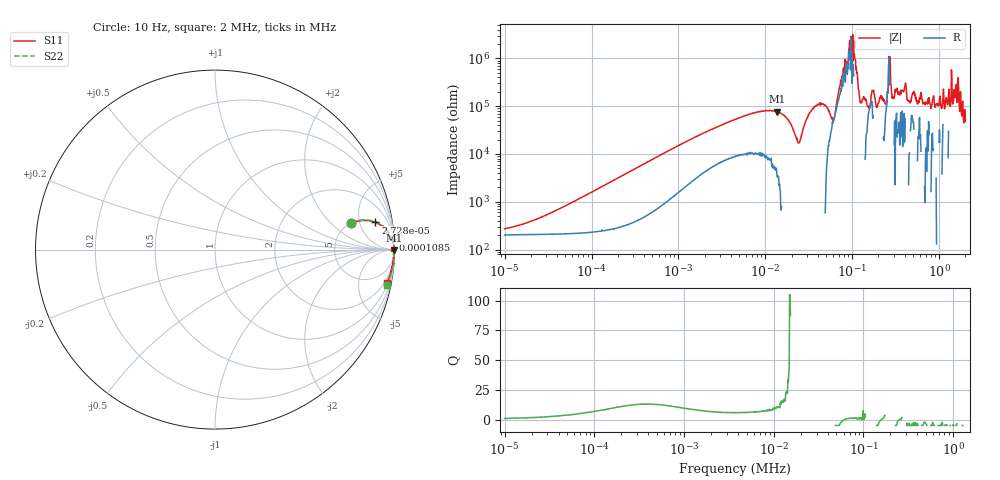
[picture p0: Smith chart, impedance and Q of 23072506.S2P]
!Agilent Technologies,E5061B,MY49204007,A.02.12
!Date: Wed Jul 23 11:00:31 2025
!Data & Calibration Information:
!Freq	S11:SOLT2(ON)	S21:SOLT2(ON)	S12:SOLT2(ON)	S22:SOLT2(ON)
# Hz S dB R 50
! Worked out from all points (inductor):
!   1040 points, 10 Hz to 2 MHz, reference 50 ohm
!   read as one part in series: L = 2.53 H near 39.97 Hz
!   highest Q = 21.8 at 13.73 kHz (marker M1), where L = 885 mH
!   self-resonance near 24.35 kHz
!   S11 on the Smith chart (normalised r, x): 10 Hz: 5.07, +3.65; 27.28 Hz: 5, +9; 108.5 Hz: 6, +34; 2 MHz: 1, -10
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10  -2.25 10.9  -10.97 -31.2  -10.98 -31.0  -2.23 11.0
27.284  -0.86 9.6  -14.63 -55.1  -14.63 -55.0  -0.84 9.8
77.209  -0.16 4.5  -22.01 -75.1  -22.01 -75.0  -0.14 4.6
108.519  -0.09 3.3  -24.80 -78.8  -24.81 -78.7  -0.07 3.4
588.818  -0.01 0.6  -39.15 -84.6  -39.15 -84.5  0.00 0.8
4498.482  -0.01 0.0  -54.53 -80.2  -54.54 -80.2  0.01 0.2
13731.36  -0.01 -0.2  -57.67 -87.6  -57.68 -87.4  0.01 0.1
24038.2  -0.16 -0.2  -44.69 -169.5  -44.70 -169.3  -0.01 0.0
34305.13  -0.01 0.0  -58.56 105.5  -58.44 105.0  0.01 -0.0
60560.3  -0.01 -0.3  -54.07 16.9  -54.15 16.4  -0.04 -0.2
79996  -0.01 -0.4  -74.21 -47.2  -74.34 -54.7  0.01 -0.3
92131.26  -0.01 -0.5  -84.45 -51.1  -90.01 39.9  0.01 -0.4
105559.2  -0.01 -0.6  -81.72 -117.1  -82.12 -83.5  0.00 -0.5
123284.5  -0.01 -0.7  -61.62 159.6  -61.62 162.4  -0.03 -0.5
151099.2  -0.03 -0.9  -59.82 55.5  -59.95 53.4  0.00 -0.7
235556.6  -0.01 -1.3  -62.15 75.2  -61.15 73.2  -0.00 -1.2
261946.5  -0.02 -1.5  -77.40 -12.0  -72.00 -36.6  -0.01 -1.2
294710.7  -0.03 -1.4  -63.57 101.3  -63.10 98.1  -0.01 -1.5
391891.6  -0.03 -2.1  -66.34 83.1  -65.89 69.4  -0.00 -2.0
455072.7  -0.02 -2.4  -62.09 82.9  -62.22 87.2  -0.00 -2.3
1574823  -0.15 -8.6  -69.39 -168.3  -71.14 -170.7  -0.11 -9.1
2000000  -0.19 -11.0  -53.93 -118.0  -53.26 -124.6  -0.20 -11.7
